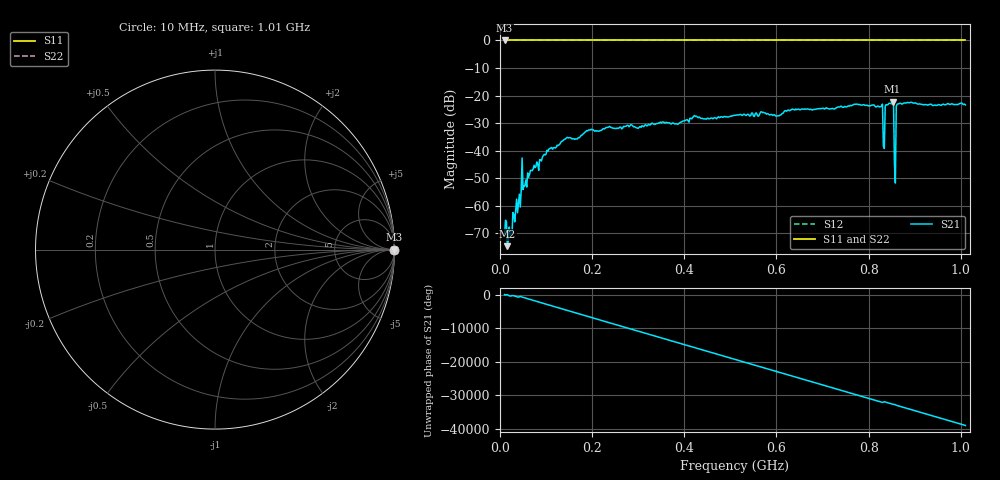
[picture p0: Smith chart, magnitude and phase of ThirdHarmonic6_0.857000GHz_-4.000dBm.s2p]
! 8/16/2025 4:20:17 AM
! C:\ANRITSUVNA\TEMP\TEMP.S2P
! CHANNEL.1
! TR.MEASUREMENT
! RAW.DATA
! RF.CORRECTION.OFF
! AVERAGING.OFF
! IF.BANDWIDTH: 5KHZ
! SWEEPTYPE:  FREQ.SWEEP(Linear)
! Reference Plane Port Info
! PORT:  PORT1  PORT2
! DISTANCE:  0  m  0  m
! TIME:  0  s  0  s
! PHASE.OFFSET:  0  deg.  0  deg.
! LOSS:  0  dB  0  dB
! REF.LOSS:  0  dB  0  dB
! REF.FREQ:  0  Hz  0  Hz
! Power Info
! POWER:  -20  dBm  -20  dBm
! EFF.POWER:  -20  dBm  -20  dBm
! SOURCE.ATTEN:  0  dB  0  dB
! TEST.ATTEN:  0  dB  0  dB
# GHZ S RI R 50.0
! FREQ.GHZ  S11RE  S11IM  S21RE  S21IM  S12RE  S12IM  S22RE  S22IM
!; PortSelection: Port_12
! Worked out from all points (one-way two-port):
!   501 points, 10 MHz to 1.01 GHz, reference 50 ohm
!   highest |S21| = -22.19 dB at 852 MHz (marker M1); lowest = -74.7 dB at 16 MHz (marker M2)
!   lowest |S11| = 0.0 dB at 10 MHz (marker M3)
!   |S11| at or under -10 dB: nowhere
!   |S22| runs from 0.0 to 0.0 dB; largest |S21 - S12| = 1.1
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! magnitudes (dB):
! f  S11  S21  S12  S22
! 10 MHz  0.0  -70.6  0.0  0.0
! 16 MHz  0.0  -74.7  0.0  0.0
! 22 MHz  0.0  -69.8  0.0  0.0
! 50 MHz  0.0  -54.1  0.0  0.0
! 70 MHz  0.0  -47.3  0.0  0.0
! 106 MHz  0.0  -39.4  0.0  0.0
! 178 MHz  0.0  -34.3  0.0  0.0
! 344 MHz  0.0  -30.0  0.0  0.0
! 510 MHz  0.0  -27.2  0.0  0.0
! 678 MHz  0.0  -25.3  0.0  0.0
! 826 MHz  0.0  -24.0  0.0  0.0
! 830 MHz  0.0  -23.1  0.0  0.0
! 836 MHz  0.0  -23.9  0.0  0.0
! 840 MHz  0.0  -23.4  0.0  0.0
! 844 MHz  0.0  -22.8  0.0  0.0
! 850 MHz  0.0  -23.0  0.0  0.0
! 852 MHz  0.0  -22.2  0.0  0.0
! 854 MHz  0.0  -22.3  0.0  0.0
! 860 MHz  0.0  -23.9  0.0  0.0
! 864 MHz  0.0  -23.0  0.0  0.0
! 866 MHz  0.0  -23.0  0.0  0.0
! 1.01 GHz  0.0  -23.4  0.0  0.0
